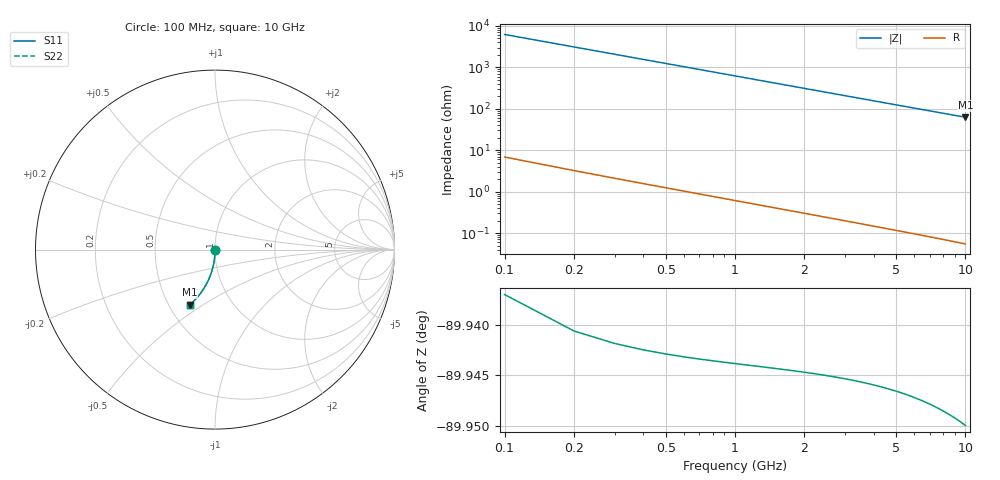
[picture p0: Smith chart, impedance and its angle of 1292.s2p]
# Hz S RI R 50.00
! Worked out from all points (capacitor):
!   100 points, 100 MHz to 10 GHz, reference 50 ohm
!   read as one part in shunt: C = 256 fF near 100 MHz
!   lowest |Z| = 62.6 ohm at 10 GHz (marker M1)
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1e8  0.000276 -0.00361  0.9997 -0.00443  0.9997 -0.00443  0.000276 -0.00361
2e8  0.000226 -0.00721  0.9996 -0.00885  0.9996 -0.00885  0.000226 -0.00721
3e8  0.000144 -0.0108  0.9995 -0.0133  0.9995 -0.0133  0.000144 -0.0108
4e8  2.93e-05 -0.0144  0.9994 -0.0177  0.9994 -0.0177  2.93e-05 -0.0144
5e8  -0.000117 -0.018  0.9993 -0.0221  0.9993 -0.0221  -0.000117 -0.018
6e8  -0.000296 -0.0216  0.9991 -0.0265  0.9991 -0.0265  -0.000296 -0.0216
7e8  -0.000506 -0.0252  0.9989 -0.031  0.9989 -0.031  -0.000506 -0.0252
8e8  -0.000748 -0.0288  0.9986 -0.0354  0.9986 -0.0354  -0.000748 -0.0288
9e8  -0.00102 -0.0324  0.9983 -0.0398  0.9983 -0.0398  -0.00102 -0.0324
1.1e9  -0.00167 -0.0396  0.9977 -0.0486  0.9977 -0.0486  -0.00167 -0.0396
1.4e9  -0.00287 -0.0503  0.9964 -0.0618  0.9964 -0.0618  -0.00287 -0.0503
1.8e9  -0.00491 -0.0646  0.9944 -0.0793  0.9944 -0.0793  -0.00491 -0.0646
2.1e9  -0.00677 -0.0752  0.9925 -0.0924  0.9925 -0.0924  -0.00677 -0.0752
2.5e9  -0.00968 -0.0892  0.9895 -0.1097  0.9895 -0.1097  -0.00968 -0.0892
2.9e9  -0.0131 -0.1031  0.986 -0.1269  0.986 -0.1269  -0.0131 -0.1031
3.4e9  -0.018 -0.1203  0.981 -0.1482  0.981 -0.1482  -0.018 -0.1203
4.2e9  -0.0273 -0.1471  0.9714 -0.1816  0.9714 -0.1816  -0.0273 -0.1471
5.1e9  -0.0399 -0.1761  0.9585 -0.2181  0.9585 -0.2181  -0.0399 -0.1761
5.9e9  -0.0529 -0.2008  0.9453 -0.2494  0.9453 -0.2494  -0.0529 -0.2008
6.7e9  -0.0673 -0.2244  0.9305 -0.2795  0.9305 -0.2795  -0.0673 -0.2244
8.4e9  -0.1023 -0.2699  0.8946 -0.3393  0.8946 -0.3393  -0.1023 -0.2699
1e10  -0.1396 -0.3069  0.8562 -0.3896  0.8562 -0.3896  -0.1396 -0.3069
